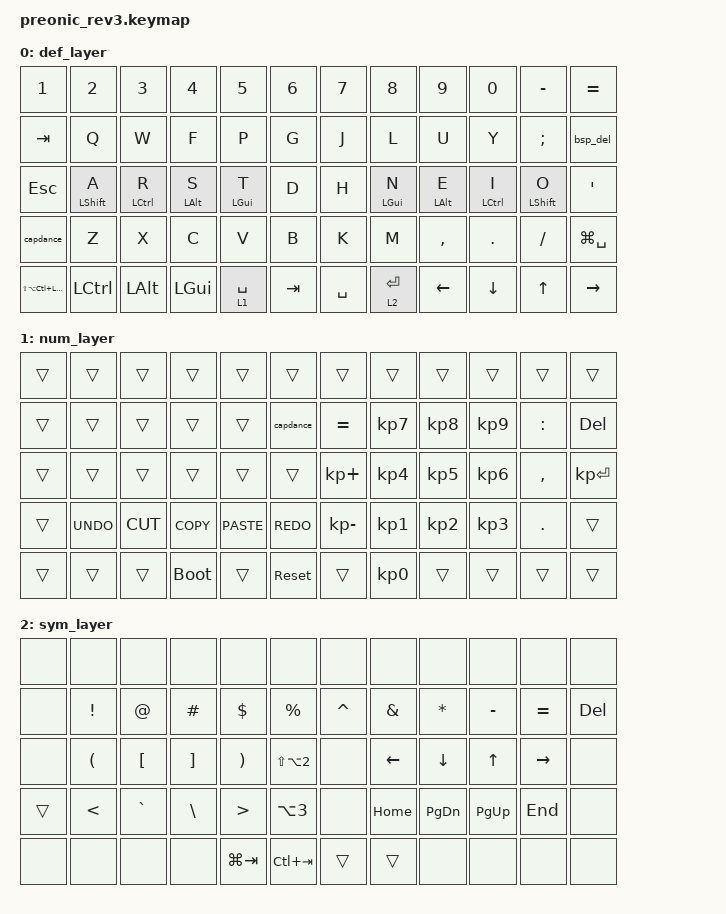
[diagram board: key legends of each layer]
#include <behaviors.dtsi>
#include <dt-bindings/zmk/keys.h>

// #include <dt-bindings/zmk/mouse.h>

#define DEF 0
#define NUM 1
#define SYM 2
#define U_RDO &kp LS(LG(Z))
#define U_PST &kp LG(V)
#define U_CPY &kp LG(C)
#define U_CUT &kp LG(X)
#define U_UND &kp LG(Z)

// #include "combos.dtsi"  // must be sourced after layer-shortcuts
// #include "mouse.dtsi"
// Behavior Overrides

&lt {
    tapping-term-ms = <200>;
    flavor = "tap-preferred";
    tapping-term-ms = <200>;
    quick-tap-ms = <150>;
    global-quick-tap;
};

// Sticky key

&sk {
    /delete-property/ ignore-modifiers;

    // release-after-ms = <2000>;

    quick-release;
};

// Sticky layer

&sl { release-after-ms = <2000>; };

// KEY POSITION REFERENCE
// ------------------------------------------------------------------------
// | 00 | 01 | 02 | 03 | 04 | 05 |          | 06 | 07 | 08 | 09 | 10 | 11 |
// | 12 | 13 | 14 | 15 | 16 | 17 |          | 18 | 19 | 20 | 21 | 22 | 23 |
// | 24 | 25 | 26 | 27 | 28 | 29 |          | 30 | 31 | 32 | 33 | 34 | 35 |
// | 36 | 37 | 38 | 39 | 40 | 41 |          | 42 | 43 | 44 | 45 | 46 | 47 |
// | 48 | 49 | 50 | 51 | 52 | 53 |          | 54 | 55 | 56 | 57 | 58 | 59 |

/ {
    combos {
        compatible = "zmk,combos";

        caps_word {
            key-positions = <13 22>;
            bindings = <&caps_word>;
        };

        cb_ij {
            bindings = <&m_ij>;
            key-positions = <7 8>;
        };

        cb_sch {
            bindings = <&m_sch>;
            key-positions = <4 3>;
        };

        cb_tion {
            bindings = <&m_tion>;
            key-positions = <8 9>;
        };
    };

    macros {
        m_ij: m_ij {
            compatible = "zmk,behavior-macro";
            #binding-cells = <0>;
            label = "M_IJ";
            bindings = <&kp I &kp J>;
        };

        m_sch: m_sch {
            compatible = "zmk,behavior-macro";
            #binding-cells = <0>;
            label = "M_SCH";
            bindings = <&kp S &kp C &kp H>;
        };

        m_tion: m_tion {
            compatible = "zmk,behavior-macro";
            #binding-cells = <0>;
            label = "M_TION";
            bindings = <&kp T &kp I &kp O &kp N>;
        };
    };

    behaviors {
        hml: homewrow_mods_left {
            compatible = "zmk,behavior-hold-tap";
            #binding-cells = <2>;
            label = "HOMEROW_MODS_LEFT_HAND";
            bindings = <&kp>, <&kp>;

            tapping-term-ms = <200>;
            hold-trigger-key-positions = <6 7 8 9 10 11 18 19 20 21 22 23 30 31 32 33 34 35 39 40 41>;
            quick-tap-ms = <150>;
            require-prior-idle-ms = <125>;
            flavor = "tap-preferred";
            hold-trigger-on-release;
        };

        hmr: homewrow_mods_right {
            compatible = "zmk,behavior-hold-tap";
            #binding-cells = <2>;
            label = "HOMEROW_MODS_RIGHT_HAND";
            bindings = <&kp>, <&kp>;

            tapping-term-ms = <200>;
            hold-trigger-key-positions = <0 1 2 3 4 5 12 13 14 15 16 17 24 25 26 27 28 29 36 37 38>;
            quick-tap-ms = <150>;
            require-prior-idle-ms = <125>;
            flavor = "tap-preferred";
            hold-trigger-on-release;
        };

        capdance: capdance {
            compatible = "zmk,behavior-tap-dance";
            label = "CAPDANCE";
            #binding-cells = <0>;
            bindings = <&caps_word>, <&kp CAPS>;
        };

        hol_tog: hold_toggle {
            compatible = "zmk,behavior-hold-tap";
            label = "HOLD_TOGGLE";
            bindings = <&mo>, <&tog>;

            #binding-cells = <2>;
            tapping-term-ms = <200>;
        };

        bsp_del: bsp_del {
            compatible = "zmk,behavior-mod-morph";
            label = "BSP_DEL";
            bindings = <&kp BACKSPACE>, <&kp DELETE>;

            #binding-cells = <0>;
            mods = <(MOD_LCTL)>;
        };
    };

    conditional_layers {
        compatible = "zmk,conditional-layers";

        tri_layer {
            if-layers = <1 2>;
            then-layer = <3>;
        };
    };

    chosen { zmk,matrix_transform = &layout_grid_transform; };

    keymap {
        compatible = "zmk,keymap";

        def_layer {
            // KEY POSITION REFERENCE
            // ------------------------------------------------------------------------
            // | 00 | 01 | 02 | 03 | 04 | 05 |          | 06 | 07 | 08 | 09 | 10 | 11 |
            // | 12 | 13 | 14 | 15 | 16 | 17 |          | 18 | 19 | 20 | 21 | 22 | 23 |
            // | 24 | 25 | 26 | 27 | 28 | 29 |          | 30 | 31 | 32 | 33 | 34 | 35 |
            // | 36 | 37 | 38 | 39 | 40 | 41 |          | 42 | 43 | 44 | 45 | 46 | 47 |
            // | 48 | 49 | 50 | 51 | 52 | 53 |          | 54 | 55 | 56 | 57 | 58 | 59 |
            //  -------------------------------------------------------------------------------------------------
            // |  GRAV |  1   |  2   |  3   |  4    |  5     |   6     |  7     |  8   |  9    |   0   | BSPC   |
            // |  TAB  |  Q   |  W   |  E   |  R    |  T     |   Y     |  U     |  I   |  O    |   P   |BSPC/DEL|
            // |  ESC  |  A   |  S   |  D   |  F    |  G     |   H     |  J     |  K   |  L    |   ;   |  '     |
            // | SHIFT |  Z   |  X   |  C   |  V    |  B     |   N     |  M     |  ,   |  .    |   /   | ---    |
            // |       | LGUI | LALT | LCTL | NUM   | SPACE  |  SPACE  |  SYM   | LEFT |  DOWN |   UP  | RIGHT  |

            bindings = <
&kp NUMBER_1          &kp NUMBER_2  &kp NUMBER_3  &kp NUMBER_4  &kp N5       &kp NUMBER_6  &kp N7     &kp N8       &kp N9       &kp N0        &kp MINUS     &kp EQUAL
&kp TAB               &kp Q         &kp W         &kp F         &kp P        &kp G         &kp J      &kp L        &kp U        &kp Y         &kp SEMI      &bsp_del
&kp ESC               &hml LSHFT A  &hml LCTRL R  &hml LALT S   &hml LGUI T  &kp D         &kp H      &hmr LGUI N  &hmr LALT E  &hmr LCTRL I  &hmr LSHFT O  &kp SQT
&capdance             &kp Z         &kp X         &kp C         &kp V        &kp B         &kp K      &kp M        &kp COMMA    &kp DOT       &kp SLASH     &kp LG(SPACE)
&kp LS(LA(LC(LCMD)))  &kp LCTRL     &kp LEFT_ALT  &kp LEFT_GUI  &lt 1 SPACE  &kp TAB       &kp SPACE  &lt 2 RET    &kp LEFT     &kp DOWN      &kp UP        &kp RIGHT
            >;
        };

        num_layer {
            // -------------------------------------------------------------------------------------------
            // |   `   |  1   |  2   |  3   |  4   |   5   |   6   |   7   |   8  |  9   |   0   | BSPC  |
            // |   `   |  1   |  2   |  3   |  4   |   5   |   6   |   7   |   8  |  9   |   0   | DEL   |
            // |  DEL  |  F1  |  F2  |  F3  |  F4  |  F5   |  F6   |   -   |   =  |  [   |   ]   |  \    |
            // |       |  F7  |  F8  |  F9  |  F10 |  F11  |  F12  |   #   |   \  | PGUP |  PGDN |       |
            // |       |      |      |      |      | SHIFT |       |       | NEXT | VOL- |  VOL+ | PLAY  |

            bindings = <
&trans  &trans      &trans     &trans       &trans       &trans      &trans        &trans           &trans           &trans           &trans     &trans
&trans  &trans      &trans     &trans       &trans       &capdance   &kp EQUAL     &kp KP_NUMBER_7  &kp KP_NUMBER_8  &kp KP_NUMBER_9  &kp COLON  &kp DELETE
&trans  &trans      &trans     &trans       &trans       &trans      &kp KP_PLUS   &kp KP_NUMBER_4  &kp KP_NUMBER_5  &kp KP_NUMBER_6  &kp COMMA  &kp KP_ENTER
&trans  &kp K_UNDO  &kp K_CUT  &kp K_COPY   &kp K_PASTE  &kp K_REDO  &kp KP_MINUS  &kp KP_NUMBER_1  &kp KP_NUMBER_2  &kp KP_NUMBER_3  &kp DOT    &trans
&trans  &trans      &trans     &bootloader  &trans       &sys_reset  &trans        &kp KP_NUMBER_0  &trans           &trans           &trans     &trans
            >;
        };

        sym_layer {
            // -------------------------------------------------------------------------------------------
            // |   `   |  1   |  2   |  3   |  4   |   5   |   6   |   7   |   8  |  9   |   0   | BSPC  |
            // |   `   |  1   |  2   |  3   |  4   |   5   |   6   |   7   |   8  |  9   |   0   | DEL   |
            // |  DEL  |  F1  |  F2  |  F3  |  F4  |  F5   |  F6   |   -   |   =  |  [   |   ]   |  \    |
            // |       |  F7  |  F8  |  F9  |  F10 |  F11  |  F12  |   #   |   \  | PGUP |  PGDN |       |
            // |       |      |      |      |      | SHIFT |       |       | NEXT | VOL- |  VOL+ | PLAY  |

            bindings = <
&none   &none     &none      &none     &none        &none              &none      &none     &none          &none      &none      &none
&none   &kp EXCL  &kp AT     &kp HASH  &kp DLLR     &kp PERCENT        &kp CARET  &kp AMPS  &kp ASTRK      &kp MINUS  &kp EQUAL  &kp DELETE
&none   &kp LPAR  &kp LBKT   &kp RBKT  &kp RPAR     &kp LS(LA(NUM_2))  &none      &kp LEFT  &kp DOWN       &kp UP     &kp RIGHT  &none
&trans  &kp LT    &kp GRAVE  &kp BSLH  &kp GT       &kp LA(NUM_3)      &none      &kp HOME  &kp PAGE_DOWN  &kp PG_UP  &kp END    &none
&none   &none     &none      &none     &kp LG(TAB)  &kp LC(TAB)        &trans     &trans    &none          &none      &none      &none
            >;
        };
    };
};
